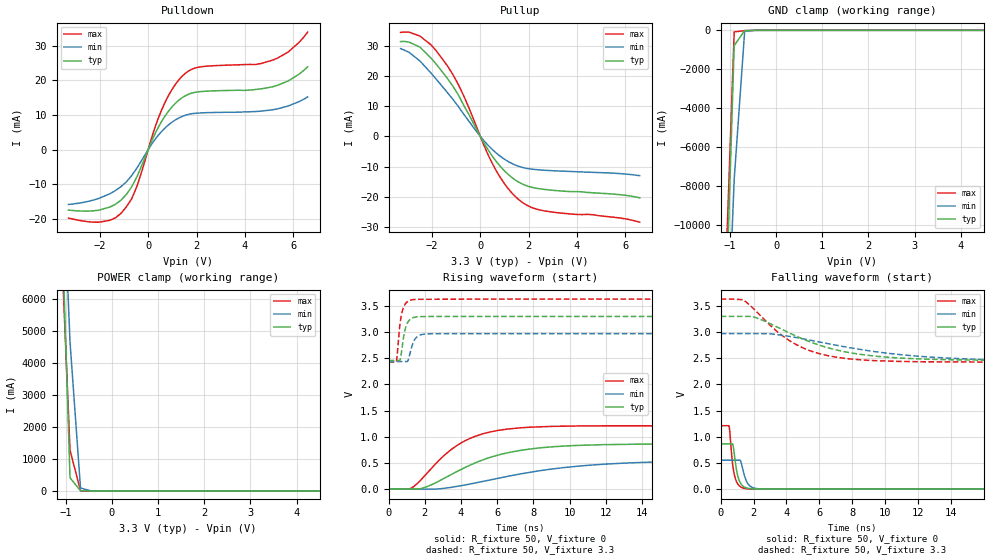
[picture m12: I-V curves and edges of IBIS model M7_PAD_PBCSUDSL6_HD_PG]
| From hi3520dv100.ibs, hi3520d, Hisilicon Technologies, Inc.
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[Model] M7_PAD_PBCSUDSL6_HD_PG
Model_type I/O
Vinl  =  0.8
Vinh  =  2
| Capacitance   typ   min   max
C_comp   3.54522587679e-12   3.80621284733e-12   3.32501668179e-12
| Variables   typ   min   max
[GND Clamp Reference]   0   0   0
[POWER Clamp Reference]   3.3   2.97   3.63
[Pulldown Reference]   0   0   0
[Pullup Reference]   3.3   2.97   3.63
[Temperature Range]   25   125   -40
[Voltage Range]   3.3   2.97   3.63
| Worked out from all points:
|   slope of the pulldown table from 0 to 0.495 V, typ, clamps not added: 67 ohm
|   slope of the pullup table from 0 to 0.495 V, typ, clamps not added: 76.3 ohm
|   GND clamp passes 1 mA (typ) near -0.47 V on its own axis
|   POWER clamp passes 1 mA (typ) near -0.51 V on its own axis
|   falling waveform, R_fixture 50, V_fixture 0: 20-80 % time 300ps typ, 348ps min, 271ps max; typ from 0.865 V to 0 V
|   falling waveform, R_fixture 50, V_fixture 3.3: 20-80 % time 4.33ns typ, 6.68ns min, 3.06ns max; typ from 3.3 V to 2.46 V
|   rising waveform, R_fixture 50, V_fixture 0: 20-80 % time 3.66ns typ, 5.92ns min, 2.54ns max; typ from 0 V to 0.865 V
|   rising waveform, R_fixture 50, V_fixture 3.3: 20-80 % time 270ps typ, 308ps min, 247ps max; typ from 2.46 V to 3.3 V
[GND Clamp]
| Voltage   I(typ)   I(min)   I(max)
-3.3V     -188.8A    -149A      -233.7A
-1.134V   -17.95A    -21.05A    -15.29A
-907.5mV  -786.1mA   -7.651A    -80.85mA
-680.6mV  -12.1mA    -50.84mA   -16.79mA
-453.7mV  -324.7uA   -602.9uA   -281.9uA
6.6V      0A         0A         0A
[POWER Clamp]
| Voltage   I(typ)   I(min)   I(max)
-3.3V     113.7A     89.75A     140.8A
-1.134V   10.68A     12.57A     9.071A
-907.5mV  412.4mA    4.667A     1.278A
-680.6mV  3.742mA    91.72mA    5.432mA
-453.7mV  110.3uA    891uA      688.9uA
6.6V      0A         0A         0A
[Pullup]
| Voltage   I(typ)   I(min)   I(max)
-3.3V     31.3mA     29mA       34.35mA
-2.949V   31.16mA    27.78mA    34.45mA
-2.496V   29.49mA    24.9mA     33.13mA
-2.042V   25.88mA    20.94mA    30.26mA
-1.361V   19.16mA    14.47mA    23.31mA
-680.6mV  10.2mA     7.262mA    13.31mA
103.1mV   -1.497mA   -996.5uA   -2.057mA
567.2mV   -7.297mA   -4.853mA   -10mA
1.083V    -12.05mA   -7.976mA   -16.54mA
1.65V     -15.39mA   -10.06mA   -21.28mA
2.63V     -17.52mA   -11.19mA   -24.59mA
6.6V      -20.32mA   -13mA      -28.38mA
[Pulldown]
| Voltage   I(typ)   I(min)   I(max)
-3.3V     -17.44mA   -15.81mA   -19.75mA
-1.588V   -16.57mA   -12.73mA   -20.39mA
-907.5mV  -12.96mA   -9.323mA   -16.54mA
-453.7mV  -7.646mA   -5.18mA    -10.34mA
206.2mV   3.412mA    2.191mA    4.808mA
618.8mV   8.84mA     5.686mA    12.43mA
1.083V    13.05mA    8.376mA    18.38mA
1.547V    15.56mA    9.923mA    22.04mA
2.217V    16.76mA    10.6mA     23.91mA
5.115V    18.07mA    11.45mA    25.72mA
5.796V    19.81mA    12.58mA    28.15mA
6.6V      23.88mA    15.2mA     33.89mA
[Ramp]
dV/dt_r   0.519158/3.65928n  0.331918/5.9201n  0.727134/2.54178n
dV/dt_f   0.50608/4.32527n  0.319683/6.67624n  0.7219/3.05527n
R_load = 50
[Falling Waveform]
R_fixture = 50
V_fixture = 0
V_fixture_min = 0
V_fixture_max = 0
| Time   V(typ)   V(min)   V(max)
0s        865.3mV    553.2mV    1.212V
518.1ps   865.3mV    553.2mV    1.191V
739.7ps   853.6mV    553.2mV    444.9mV
851.3ps   611.3mV    553.2mV    248.5mV
973ps     348.2mV    553.2mV    135.2mV
1.249ns   93.51mV    497.8mV    35.78mV
1.524ns   28.33mV    183.7mV    10.22mV
1.749ns   11.3mV     70.25mV    3.319mV
3.997ns   1.174mV    592.9uV    507.3uV
100ns     8.991nV    60.14nV    40.19nV
[Falling Waveform]
R_fixture = 50
V_fixture = 3.3
V_fixture_min = 2.97
V_fixture_max = 3.63
| Time   V(typ)   V(min)   V(max)
0s        3.3V       2.97V      3.63V
1.434ns   3.3V       2.97V      3.601V
2.113ns   3.278V     2.97V      3.41V
3.497ns   3.086V     2.949V     2.992V
5.126ns   2.851V     2.864V     2.68V
6.968ns   2.663V     2.752V     2.523V
9.45ns    2.539V     2.623V     2.453V
14.37ns   2.469V     2.494V     2.43V
21.08ns   2.458V     2.448V     2.428V
100ns     2.457V     2.437V     2.427V
[Rising Waveform]
R_fixture = 50
V_fixture = 0
V_fixture_min = 0
V_fixture_max = 0
| Time   V(typ)   V(min)   V(max)
0s        8.679nV    58.54nV    22.26nV
1.29ns    1.932mV    58.54nV    27.63mV
2.067ns   41.81mV    498.6uV    283.3mV
3.378ns   263.8mV    31.03mV    734.3mV
4.785ns   501.1mV    118.2mV    1.009V
6.493ns   688.6mV    238.4mV    1.144V
9.054ns   809.1mV    385.6mV    1.199V
13.51ns   857.9mV    504.5mV    1.21V
22ns      864.6mV    549mV      1.21V
100ns     865.3mV    553.2mV    1.212V
[Rising Waveform]
R_fixture = 50
V_fixture = 3.3
V_fixture_min = 2.97
V_fixture_max = 3.63
| Time   V(typ)   V(min)   V(max)
0s        2.457V     2.437V     2.427V
428.7ps   2.457V     2.437V     2.438V
640.3ps   2.472V     2.437V     3.181V
844.8ps   2.94V      2.437V     3.49V
1.091ns   3.203V     2.476V     3.592V
1.354ns   3.274V     2.794V     3.619V
1.542ns   3.289V     2.9V       3.625V
2.147ns   3.297V     2.965V     3.626V
3.778ns   3.298V     2.969V     3.628V
100ns     3.3V       2.97V      3.63V
